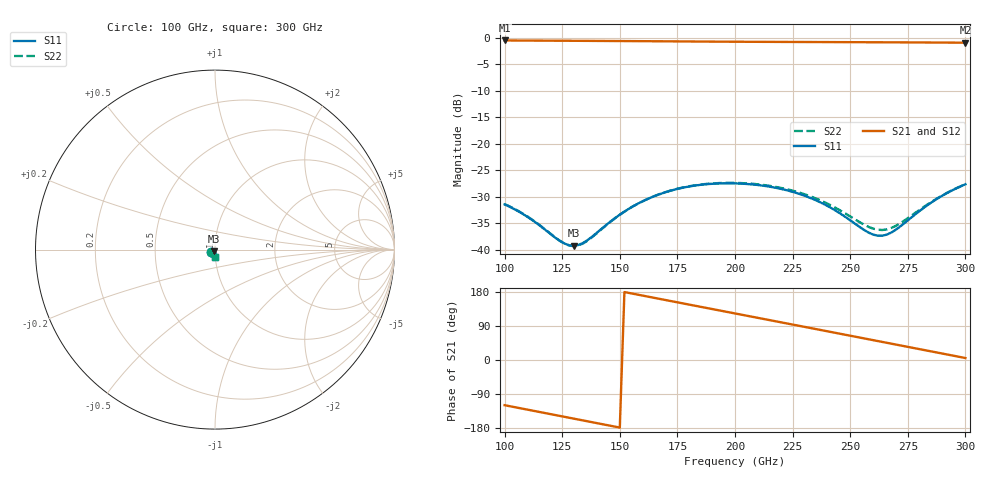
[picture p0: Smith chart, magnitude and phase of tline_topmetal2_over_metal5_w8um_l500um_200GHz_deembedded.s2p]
! Created with skrf 2.2.0 (http://scikit-rf.org).
# GHz S DB R 50.0
! Port[1] = P1
! Port[2] = P2
!freq dBS11 angS11 dBS21 angS21 dBS12 angS12 dBS22 angS22
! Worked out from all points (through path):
!   101 points, 100 GHz to 300 GHz, reference 50 ohm
!   highest |S21| = -0.47 dB at 100 GHz (marker M1); lowest = -0.9 dB at 300 GHz (marker M2)
!   group delay of S21, straight-line fit = 3.27 ps
!   lowest |S11| = -39.3 dB at 130 GHz (marker M3), VSWR 1.02, Z = 49.3 - j0.857 ohm
!   |S11| at or under -10 dB: start of sweep to end of sweep
!   |S22| runs from -39.4 to -27.4 dB; largest |S21 - S12| = 1.9e-14
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100  -31.46 -156.2  -0.47 -119.3  -0.47 -119.3  -31.40 -156.0
108  -33.29 -160.3  -0.49 -128.7  -0.49 -128.7  -33.22 -160.2
116  -35.70 -159.1  -0.51 -138.2  -0.51 -138.2  -35.64 -159.2
124  -38.35 -146.5  -0.53 -147.6  -0.53 -147.6  -38.35 -146.8
130  -39.28 -126.9  -0.54 -154.7  -0.54 -154.7  -39.35 -127.1
134  -38.75 -113.1  -0.55 -159.4  -0.55 -159.4  -38.86 -112.9
142  -36.10 -96.5  -0.57 -168.9  -0.57 -168.9  -36.17 -95.6
150  -33.39 -92.7  -0.58 -178.3  -0.58 -178.3  -33.43 -91.6
158  -31.28 -95.1  -0.61 172.2  -0.61 172.2  -31.29 -93.9
168  -29.42 -102.0  -0.63 160.4  -0.63 160.4  -29.40 -100.7
184  -27.82 -116.1  -0.68 141.6  -0.68 141.6  -27.76 -114.5
200  -27.49 -130.3  -0.72 122.9  -0.72 122.9  -27.39 -128.4
210  -27.80 -138.5  -0.73 111.1  -0.73 111.1  -27.66 -136.4
218  -28.35 -144.7  -0.75 101.7  -0.75 101.7  -28.17 -142.2
226  -29.21 -150.1  -0.76 92.3  -0.76 92.3  -28.98 -147.4
234  -30.46 -154.2  -0.77 82.9  -0.77 82.9  -30.14 -151.2
246  -33.27 -154.7  -0.79 68.8  -0.79 68.8  -32.68 -151.4
260  -37.17 -131.0  -0.82 52.3  -0.82 52.3  -36.05 -130.8
264  -37.37 -117.3  -0.82 47.6  -0.82 47.6  -36.29 -119.3
268  -36.74 -104.1  -0.83 42.9  -0.83 42.9  -35.88 -107.8
284  -31.46 -83.4  -0.86 24.1  -0.86 24.1  -31.33 -86.5
300  -27.66 -89.0  -0.90 5.2  -0.90 5.2  -27.66 -90.4
